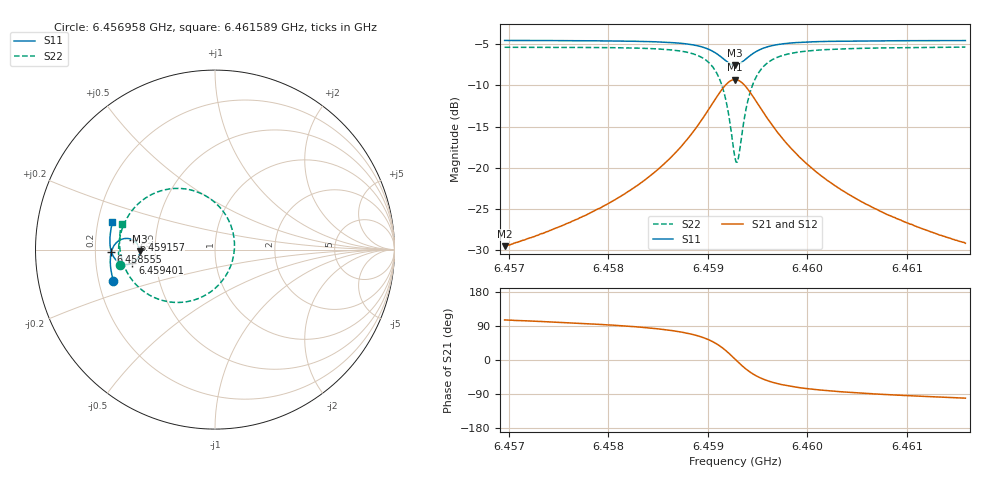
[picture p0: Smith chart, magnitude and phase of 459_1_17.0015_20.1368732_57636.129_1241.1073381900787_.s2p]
#  HZ  S  RI  R  50.00
! Rohde & Schwarz Vector Network Analyzer
! Rohde-Schwarz,ZNB20-2Port,1311601062101988,3.16
! Created: UTC 3/20/2024, 11:12:41 PM
! freq[Hz]  re:S11  im:S11  re:S21  im:S21  re:S12  im:S12  re:S22  im:S22
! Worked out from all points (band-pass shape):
!   401 points, 6.456958 GHz to 6.461589 GHz, reference 50 ohm
!   highest |S21| = -9.29 dB at 6.459273 GHz (marker M1); lowest = -29.5 dB at 6.456958 GHz (marker M2)
!   |S21| within 3 dB of the highest: 6.459042 GHz to 6.459505 GHz (463.2 kHz wide, 0.00717 % of centre)
!   lowest |S11| = -7.5 dB at 6.459273 GHz (marker M3), VSWR 2.45, Z = 20.5 - j0.514 ohm
!   |S11| at or under -10 dB: nowhere
!   |S22| runs from -19.3 to -5.4 dB; largest |S21 - S12| = 0.013
!   S11 on the Smith chart (normalised r, x): 6.456958 GHz: 0.26, -0.14; 6.458555 GHz: 0.27, -0.01; 6.459157 GHz: 0.37, +0.05; 6.459401 GHz: 0.37, -0.07; 6.461589 GHz: 0.26, +0.12
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6.4569579e9  -0.5663 -0.1737  -0.00906 0.0322  -0.00727 0.0322  -0.5314 -0.0865
6.4577335e9  -0.5806 -0.1061  -0.00573 0.05  -0.00317 0.0495  -0.5371 0.00368
6.4581387e9  -0.5834 -0.0656  -0.000241 0.0681  0.00279 0.0667  -0.5301 0.0668
6.4585091e9  -0.5799 -0.0219  0.0139 0.0982  0.0179 0.0953  -0.5042 0.1488
6.4585555e9  -0.5784 -0.0155  0.0173 0.1035  0.0213 0.1004  -0.498 0.1617
6.4587638e9  -0.5664 0.0164  0.0432 0.1351  0.0474 0.1303  -0.4494 0.2332
6.4589143e9  -0.5452 0.0425  0.0856 0.1651  0.0889 0.1586  -0.371 0.2971
6.4590648e9  -0.4991 0.062  0.177 0.184  0.1779 0.1767  -0.2041 0.3409
6.4591574e9  -0.455 0.052  0.2663 0.1532  0.2666 0.1472  -0.0385 0.2913
6.4592037e9  -0.4341 0.0334  0.3096 0.1106  0.3108 0.1052  0.0438 0.2156
6.4592732e9  -0.4194 -0.0103  0.3428 0.0144  0.3464 0.00744  0.1084 0.0372
6.4592848e9  -0.4196 -0.0184  0.3426 -0.00314  0.3464 -0.0108  0.1081 0.00367
6.4593079e9  -0.4233 -0.0339  0.3371 -0.0377  0.3408 -0.0467  0.0972 -0.0616
6.4593542e9  -0.4386 -0.0597  0.3089 -0.0971  0.3109 -0.1089  0.04 -0.1739
6.4594005e9  -0.4606 -0.0758  0.2671 -0.138  0.2664 -0.1512  -0.0441 -0.2485
6.4594932e9  -0.5035 -0.0825  0.183 -0.169  0.177 -0.1805  -0.2117 -0.2946
6.4596437e9  -0.5471 -0.0621  0.0957 -0.1553  0.0873 -0.1616  -0.3784 -0.2455
6.4598057e9  -0.5685 -0.0345  0.0513 -0.1278  0.0435 -0.1304  -0.4584 -0.1739
6.4600488e9  -0.5811 0.00116  0.0222 -0.0965  0.0164 -0.0971  -0.5061 -0.092
6.4603961e9  -0.5855 0.0422  0.00617 -0.0698  0.00222 -0.0694  -0.5274 -0.0132
6.4608245e9  -0.5836 0.0852  -0.00144 -0.0514  -0.00423 -0.0507  -0.5316 0.055
6.4615885e9  -0.5711 0.1526  -0.00648 -0.0343  -0.00824 -0.0334  -0.5201 0.1448
